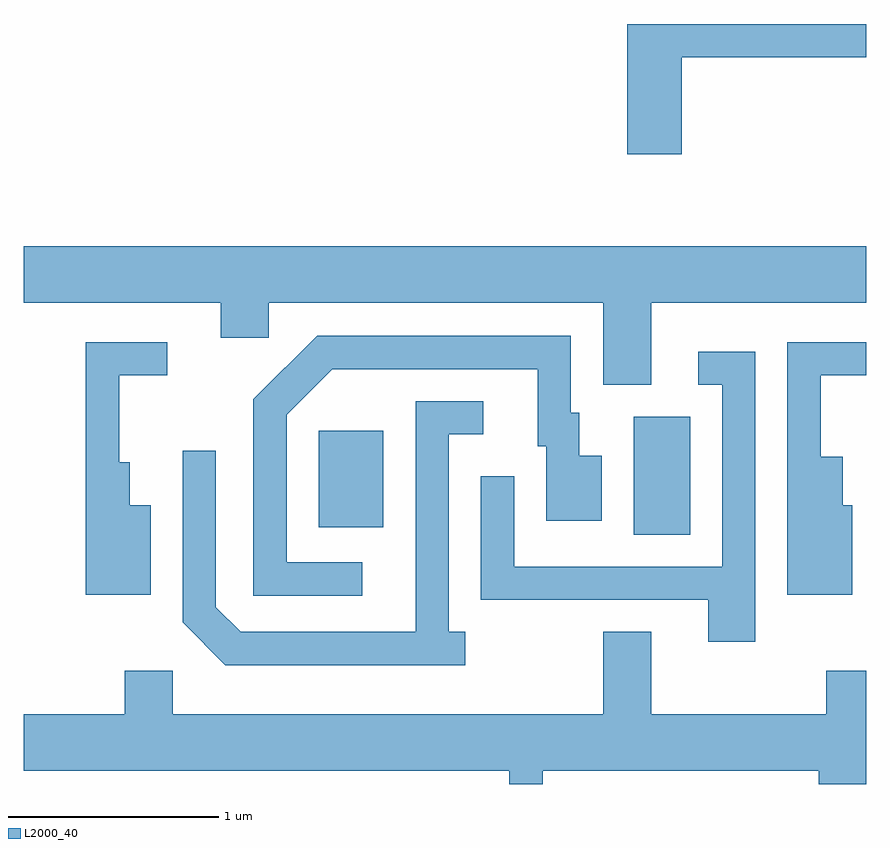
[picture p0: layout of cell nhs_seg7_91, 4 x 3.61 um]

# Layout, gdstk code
import gdstk
lib = gdstk.Library(unit=1e-6, precision=1e-09)
def R(c, l, rs):  # rectangles x0, y0, x1, y1
    for r in rs: c.add(gdstk.rectangle(r[:2], r[2:], *l))
def P(c, l, *ps):  # polygons
    for p in ps: c.add(gdstk.Polygon(p, *l))
L2000_40 = (2000, 40)

nhs_seg7_91 = lib.new_cell('nhs_seg7_91')
R(nhs_seg7_91, L2000_40, [(190.506,1715.436,190.774,1715.994), (189.011,1715.471,189.319,1715.929)])
P(nhs_seg7_91, L2000_40, [(190.734,1717.701),(191.611,1717.701),(191.611,1717.859),(190.476,1717.859),(190.476,1717.241),(190.734,1717.241)],
  [(190.589,1716.536),(191.611,1716.536),(191.611,1716.804),(187.611,1716.804),(187.611,1716.536),(188.546,1716.536),(188.546,1716.371),(188.774,1716.371),(188.774,1716.536),(190.361,1716.536),(190.361,1716.146),(190.589,1716.146)],
  [(189.218,1715.304),(188.859,1715.304),(188.859,1716.004),(189.077,1716.221),(190.051,1716.221),(190.051,1715.856),(190.091,1715.856),(190.091,1715.501),(190.354,1715.501),(190.354,1715.809),(190.249,1715.809),(190.249,1716.014),(190.209,1716.014),(190.209,1716.379),(189.004,1716.379),(188.701,1716.077),(188.701,1715.146),(189.218,1715.146)],
  [(188.214,1715.574),(188.114,1715.574),(188.114,1715.779),(188.064,1715.779),(188.064,1716.191),(188.293,1716.191),(188.293,1716.349),(187.906,1716.349),(187.906,1715.151),(188.214,1715.151)],
  [(191.544,1715.574),(191.499,1715.574),(191.499,1715.804),(191.394,1715.804),(191.394,1716.191),(191.611,1716.191),(191.611,1716.349),(191.236,1716.349),(191.236,1715.151),(191.544,1715.151)],
  [(191.084,1716.304),(190.813,1716.304),(190.813,1716.146),(190.926,1716.146),(190.926,1715.284),(189.939,1715.284),(189.939,1715.713),(189.781,1715.713),(189.781,1715.126),(190.861,1715.126),(190.861,1714.926),(191.084,1714.926)],
  [(189.708,1714.974),(189.629,1714.974),(189.629,1715.911),(189.793,1715.911),(189.793,1716.069),(189.471,1716.069),(189.471,1714.974),(188.642,1714.974),(188.524,1715.092),(188.524,1715.833),(188.366,1715.833),(188.366,1715.019),(188.569,1714.816),(189.708,1714.816)],
  [(190.074,1714.316),(191.386,1714.316),(191.386,1714.252),(191.611,1714.252),(191.611,1714.789),(191.421,1714.789),(191.421,1714.584),(190.589,1714.584),(190.589,1714.974),(190.361,1714.974),(190.361,1714.584),(188.319,1714.584),(188.319,1714.789),(188.091,1714.789),(188.091,1714.584),(187.611,1714.584),(187.611,1714.316),(189.916,1714.316),(189.916,1714.252),(190.074,1714.252)])

lib.write_gds('nhs_seg7_91.gds')
